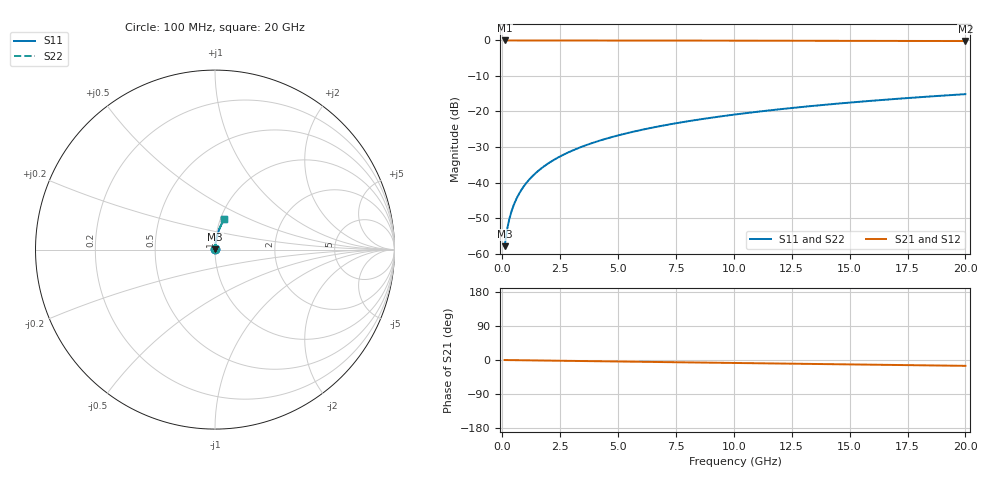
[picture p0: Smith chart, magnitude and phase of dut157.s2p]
! Touchstone file exported from HFSS 2026.1.0
!  File:  C:/ffzhzh/LocalFiles/Ansys_Project_Files/temp_train_BSMRDL_157_1782986720_40604.aedt
!  Generated:  06:07:02 PM Jul  2, 2026
!  Design:  BSMRDL
!  Project:  temp_train_BSMRDL_157_1782986720_40604
! Variables:
!  h_bsmrdl = 5.79um
!  h_ox = 20um
!  h_rdl = 5um
!  h_sub = 80um
!  h_tmrdl = 5um
!  h_tsv = 80um
!  h_via = 3um
!  l_bsmrdl = 177.09um
!  l_sub = 577.09um
!  l_tmrdl = 200um
!  m_sub = 200um
!  pitch = 48.35um
!  r_tsv = 6um
!  s_tmrdl = 10um
!  w_bsmrdl = 15.4um
!  w_sub = 500um
!  w_tmrdl = 12um
!  x_tsv_center1 = 206um
!  x_tsv_center2 = 398.49um
!  x_tsv_center3 = 610.49um
!  x_tsv_center4 = 802.98um
!  x_tsv_center5 = 1014.98um
!  x_tsv_center6 = 1207.47um
# GHz S MA R 50.000000
! Terminal data exported
! Port[1] = BSM_RDL1_1_T1
! Port[2] = BSM_RDL1_1_T2
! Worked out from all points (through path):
!   200 points, 100 MHz to 20 GHz, reference 50 ohm
!   highest |S21| = -0.01 dB at 100 MHz (marker M1); lowest = -0.2 dB at 20 GHz (marker M2)
!   group delay of S21, straight-line fit = 2.14 ps
!   lowest |S11| = -57.9 dB at 100 MHz (marker M3), VSWR 1.00, Z = 50.1 + j0.0982 ohm
!   |S11| at or under -10 dB: start of sweep to end of sweep
!   |S22| runs from -57.9 to -15.1 dB; largest |S21 - S12| = 3.5e-15
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0.1  0.001273 50.4  0.9992 -0.1  0.9992 -0.1  0.001273 50.4
! Gamma 0 0 0 0
! Port Impedance 50 0 50 0
0.2  0.002125 66.6  0.9992 -0.2  0.9992 -0.2  0.002125 66.6
0.3  0.003037 73.1  0.9991 -0.2  0.9991 -0.2  0.003037 73.1
0.4  0.003959 76.5  0.9991 -0.3  0.9991 -0.3  0.003959 76.5
0.5  0.004882 78.6  0.9991 -0.4  0.9991 -0.4  0.004882 78.6
0.7  0.006729 81.1  0.999 -0.6  0.999 -0.6  0.006729 81.1
0.8  0.007653 81.8  0.999 -0.6  0.999 -0.6  0.007653 81.8
1  0.009504 82.9  0.9989 -0.8  0.9989 -0.8  0.009504 82.9
1.2  0.01136 83.6  0.9988 -1.0  0.9988 -1.0  0.01136 83.6
1.4  0.01321 84.1  0.9988 -1.1  0.9988 -1.1  0.01321 84.1
1.7  0.01599 84.4  0.9987 -1.4  0.9987 -1.4  0.01599 84.4
2  0.01876 84.6  0.9986 -1.6  0.9986 -1.6  0.01876 84.6
2.7  0.02521 84.7  0.9983 -2.2  0.9983 -2.2  0.02521 84.7
3.5  0.03252 84.4  0.9979 -2.8  0.9979 -2.8  0.03252 84.4
4.2  0.03887 84.0  0.9974 -3.3  0.9974 -3.3  0.03887 84.0
5  0.04608 83.5  0.9969 -4.0  0.9969 -4.0  0.04608 83.5
6.8  0.06214 82.4  0.9956 -5.4  0.9956 -5.4  0.06214 82.4
8.3  0.0754 81.4  0.9944 -6.5  0.9944 -6.5  0.0754 81.4
10.1  0.09118 80.2  0.9928 -7.9  0.9928 -7.9  0.09118 80.2
13.4  0.1198 77.9  0.9894 -10.4  0.9894 -10.4  0.1198 77.9
16.7  0.1479 75.6  0.9852 -12.9  0.9852 -12.9  0.1479 75.6
20  0.1754 73.2  0.9803 -15.4  0.9803 -15.4  0.1754 73.2
